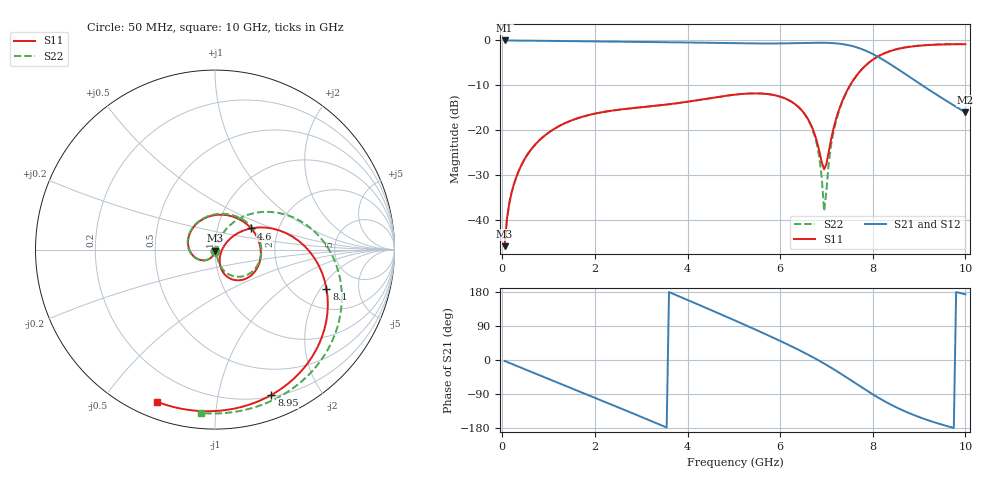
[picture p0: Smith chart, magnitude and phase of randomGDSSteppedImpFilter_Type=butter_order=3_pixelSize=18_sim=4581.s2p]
! freq	dB(S11)	phase(S11)	dB(S12)	phase(S12)
!  dB(S21)	phase(S21)	dB(S22)	phase(S22)
!S-par simulation data
#  GHz  S  DB  R 50
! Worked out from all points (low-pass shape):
!   200 points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, 50 MHz to 10 GHz, reference 50 ohm
!   highest |S21| = -0.01 dB at 50 MHz (marker M1); lowest = -16.0 dB at 10 GHz (marker M2)
!   |S21| within 3 dB of the highest: start of sweep to 7.998 GHz
!   lowest |S11| = -45.7 dB at 50 MHz (marker M3), VSWR 1.01, Z = 50 - j0.518 ohm
!   |S11| at or under -10 dB: start of sweep to 7.508 GHz
!   |S22| runs from -45.7 to -0.8 dB; largest |S21 - S12| = 0
!   S11 on the Smith chart (normalised r, x): 50 MHz: 1.00, -0.01; 4.6 GHz: 1.45, +0.36; 8.1 GHz: 2.97, -2.28; 8.95 GHz: 0.22, -1.44; 10 GHz: 0.07, -0.69
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0.05  -45.71 -91.6  -0.01 -2.5  -0.01 -2.5  -45.70 -91.5
0.2  -33.82 -99.0  -0.02 -10.1  -0.02 -10.1  -33.81 -98.9
0.5  -26.05 -115.9  -0.05 -25.1  -0.05 -25.1  -26.05 -115.4
1.15  -19.47 -148.9  -0.12 -57.4  -0.12 -57.4  -19.48 -147.8
1.75  -16.90 -179.5  -0.19 -87.2  -0.19 -87.2  -16.90 -177.4
2.5  -15.41 141.8  -0.27 -124.7  -0.27 -124.7  -15.42 146.0
3.4  -14.42 94.3  -0.37 -170.4  -0.37 -170.4  -14.43 102.1
4  -13.61 62.2  -0.46 158.5  -0.46 158.5  -13.63 72.3
4.6  -12.64 30.4  -0.55 126.9  -0.55 126.9  -12.65 41.8
5.05  -12.01 6.8  -0.62 102.8  -0.62 102.8  -12.01 18.5
5.85  -12.11 -34.9  -0.68 58.9  -0.68 58.9  -12.10 -24.3
6.35  -14.39 -60.2  -0.60 29.8  -0.60 29.8  -14.39 -52.2
6.7  -19.56 -72.1  -0.53 7.7  -0.53 7.7  -19.80 -71.0
6.85  -24.79 -62.6  -0.52 -2.4  -0.52 -2.4  -26.25 -73.7
6.95  -28.63 -22.3  -0.52 -9.4  -0.52 -9.4  -37.88 -26.5
7.1  -21.96 32.7  -0.57 -20.2  -0.57 -20.2  -23.22 65.2
7.3  -14.55 34.1  -0.75 -35.4  -0.75 -35.4  -14.81 56.1
7.7  -7.15 9.4  -1.69 -67.3  -1.69 -67.3  -7.19 26.6
8.1  -3.63 -19.3  -3.57 -98.1  -3.57 -98.1  -3.63 -3.5
8.35  -2.47 -35.8  -5.10 -115.2  -5.10 -115.2  -2.45 -20.5
8.95  -1.22 -68.8  -9.17 -148.3  -9.17 -148.3  -1.18 -53.7
10  -0.85 -110.8  -15.99 173.3  -15.99 173.3  -0.78 -95.0
